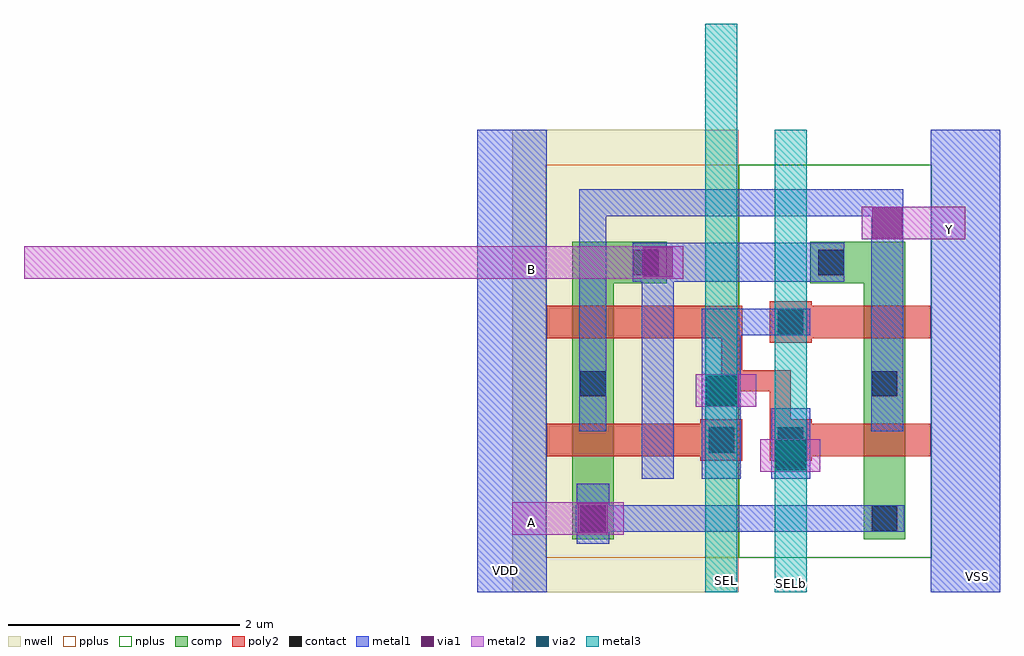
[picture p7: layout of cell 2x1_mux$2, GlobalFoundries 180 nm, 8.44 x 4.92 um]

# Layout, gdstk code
import gdstk
lib = gdstk.Library(unit=1e-6, precision=5e-09)
def R(c, l, rs):  # rectangles x0, y0, x1, y1
    for r in rs: c.add(gdstk.rectangle(r[:2], r[2:], *l))
nwell = (21, 0)
comp = (22, 0)
poly2 = (30, 0)
pplus = (31, 0)
nplus = (32, 0)
contact = (33, 0)
metal1 = (34, 0)
via1 = (35, 0)
metal2 = (36, 0)
via2 = (38, 0)
metal3 = (42, 0)

c_2x1_mux_2 = lib.new_cell('2x1_mux$2')
R(c_2x1_mux_2, nwell, [(-3.985,5.725,-2.025,9.725)])
R(c_2x1_mux_2, comp, [(-3.465,6.185,-3.105,8.76), (-0.945,6.185,-0.585,8.76), (-3.105,8.4,-2.645,8.76), (-1.405,8.4,-0.945,8.76)])
R(c_2x1_mux_2, poly2, [(-2.355,6.865,-1.995,7.225), (-1.755,6.865,-1.395,7.225), (-3.685,6.905,-2.355,7.185), (-1.395,6.905,-0.365,7.185), (-1.755,7.225,-1.575,7.465), (-2.175,7.465,-1.575,7.645), (-2.175,7.645,-1.995,7.925), (-1.755,7.885,-1.395,8.245), (-3.685,7.925,-1.995,8.205), (-1.395,7.925,-0.365,8.205)])
R(c_2x1_mux_2, pplus, [(-3.695,6.025,-2.025,9.425)])
R(c_2x1_mux_2, nplus, [(-2.025,6.025,-0.355,9.425)])
R(c_2x1_mux_2, contact, [(-3.395,6.255,-3.175,6.475), (-0.875,6.255,-0.655,6.475), (-2.285,6.935,-2.065,7.155), (-1.685,6.935,-1.465,7.155), (-3.395,7.42,-3.175,7.64), (-0.875,7.42,-0.655,7.64), (-1.685,7.955,-1.465,8.175), (-2.935,8.47,-2.715,8.69), (-1.335,8.47,-1.115,8.69)])
R(c_2x1_mux_2, metal1, [(-4.285,5.725,-3.685,9.725), (-0.365,5.725,0.235,9.725), (-3.425,6.145,-3.145,6.665), (-3.435,6.25,-0.595,6.48), (-2.865,6.71,-2.585,8.41), (-2.345,6.71,-2.005,7.95), (-1.745,6.71,-1.405,7.32), (-3.405,7.12,-3.17,9.21), (-0.88,7.12,-0.6,9.21), (-2.345,7.95,-1.405,8.18), (-2.94,8.41,-1.11,8.75), (-3.17,8.98,-0.88,9.21)])
R(c_2x1_mux_2, via1, [(-3.415,6.235,-3.155,6.495), (-1.705,6.78,-1.445,7.04), (-2.285,7.34,-2.025,7.6), (-2.855,8.45,-2.595,8.71), (-0.87,8.79,-0.61,9.05)])
R(c_2x1_mux_2, metal2, [(-3.985,6.225,-3.02,6.505), (-1.84,6.77,-1.32,7.05), (-2.395,7.33,-1.875,7.61), (-8.205,8.44,-2.505,8.72), (-0.96,8.78,-0.065,9.06)])
R(c_2x1_mux_2, via2, [(-1.705,6.78,-1.445,7.04), (-2.305,7.34,-2.045,7.6)])
R(c_2x1_mux_2, metal3, [(-2.315,5.725,-2.035,10.645), (-1.715,5.725,-1.435,9.725)])
c_2x1_mux_2.add(gdstk.Label('VDD', (-4.04,5.915), layer=34, texttype=10))
c_2x1_mux_2.add(gdstk.Label('VSS', (0.04,5.865), layer=34, texttype=10))
c_2x1_mux_2.add(gdstk.Label('SELb', (-1.565,5.805), layer=42, texttype=10))
c_2x1_mux_2.add(gdstk.Label('SEL', (-2.13,5.83), layer=42, texttype=10))
c_2x1_mux_2.add(gdstk.Label('B', (-3.82,8.52), layer=36, texttype=10))
c_2x1_mux_2.add(gdstk.Label('Y', (-0.205,8.865), layer=36, texttype=10))
c_2x1_mux_2.add(gdstk.Label('A', (-3.82,6.33), layer=36, texttype=10))

lib.write_gds('2x1_mux_2.gds')
